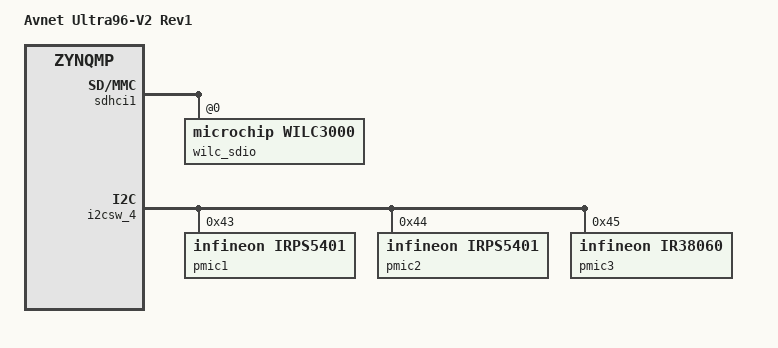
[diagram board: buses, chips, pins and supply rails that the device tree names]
// SPDX-License-Identifier: GPL-2.0+
/*
 * dts file for Avnet Ultra96 V2 rev1
 *
 * (C) Copyright 2018 - 2020, Xilinx, Inc.
 *
 * Michal Simek <michal.simek@xilinx.com>
 */

/dts-v1/;

#include "zynqmp-zcu100-revC.dts"

/ {
	model = "Avnet Ultra96-V2 Rev1";
	compatible = "avnet,ultra96-v2-rev1", "avnet,ultra96-v2", "xlnx,zynqmp";

	/delete-node/ltc2954;
	/delete-node/ina226;
};

&uart0 {
	/delete-node/bluetooth;
};

&gpio {
	/delete-property/gpio-line-names;
};

&sdio_pwrseq {
	chip_en-gpios = <&gpio 8 GPIO_ACTIVE_LOW>;
};
&sdhci1 {
	/delete-property/cap-power-off-card;
	wilc_sdio@1 {
		compatible = "microchip,wilc3000";
		reg = <0>;
		bus-width = <0x4>;
		status = "okay";
	};
	/delete-node/wifi@2;
};

&i2csw_4 {
	/delete-node/ pmic@5e;
	pmic1: pmic@43 {
		reg = <0x43>;
		compatible = "infineon,irps5401";
	};
	pmic2: pmic@44 {
		reg = <0x44>;
		compatible = "infineon,irps5401";
	};
	pmic3: pmic@45 {
		reg = <0x45>;
		compatible = "infineon,ir38060";
	};
};

&i2csw_5 {
	/delete-node/ina226@40;
};
